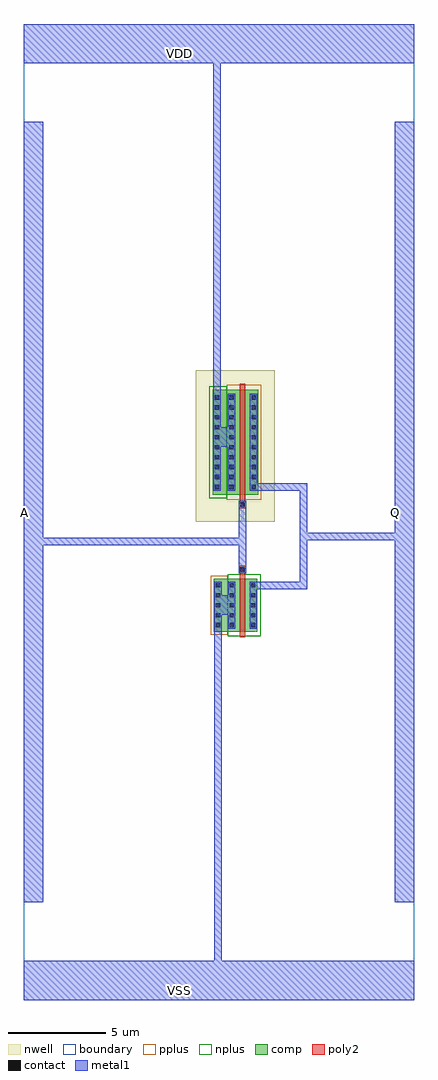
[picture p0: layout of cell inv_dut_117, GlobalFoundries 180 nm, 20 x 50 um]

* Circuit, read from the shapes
.subckt inv_dut_117 A Q VDD VSS
XM1 Q A VSS VSS nfet_03v3 w=2.7u l=0.3u
XM2 Q A VDD VDD pfet_03v3 w=5.4u l=0.3u
.ends

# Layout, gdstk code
from math import pi, radians
import gdstk
lib = gdstk.Library(unit=1e-6, precision=1e-09)
def R(c, l, rs):  # rectangles x0, y0, x1, y1
    for r in rs: c.add(gdstk.rectangle(r[:2], r[2:], *l))
def A(c, l, x, y, w, h, nx, ny, dx, dy):  # array of equal rectangles
    R(c, l, [(x+i*dx, y+j*dy, x+i*dx+w, y+j*dy+h) for i in range(nx) for j in range(ny)])
def P(c, l, *ps):  # polygons
    for p in ps: c.add(gdstk.Polygon(p, *l))
boundary = (0, 0)
nwell = (21, 0)
comp = (22, 0)
poly2 = (30, 0)
pplus = (31, 0)
nplus = (32, 0)
contact = (33, 0)
metal1 = (34, 0)

nfet = lib.new_cell('nfet')
R(nfet, comp, [(-0.42,0,1.81,2.7)])
P(nfet, poly2, [(0.19,-0.3),(0.19,3),(0.16,3),(0.16,3.36),(0.52,3.36),(0.52,3),(0.49,3),(0.49,-0.3)])
R(nfet, pplus, [(1.1,-0.17,1.98,2.87)])
R(nfet, nplus, [(-0.59,-0.24,1.1,2.94)])
A(nfet, contact, -0.32, 0.22, 0.22, 0.22, 1, 5, 0, 0.51)
A(nfet, contact, 0.78, 0.22, 0.22, 0.22, 1, 5, 0, 0.51)
A(nfet, contact, 1.49, 0.22, 0.22, 0.22, 1, 5, 0, 0.51)
R(nfet, contact, [(0.23,3.07,0.45,3.29)])
R(nfet, metal1, [(-0.4,0.14,-0.02,2.56), (0.7,0.14,1.08,2.56), (1.41,0.14,1.79,2.56), (0.15,2.99,0.53,3.37)])

pfet = lib.new_cell('pfet')
R(pfet, nwell, [(-1.32,-1.37,2.73,6.39)])
R(pfet, comp, [(-0.46,0,1.87,5.4)])
P(pfet, poly2, [(0.15,-0.68),(0.15,-0.3),(0.19,-0.3),(0.19,5.7),(0.49,5.7),(0.49,-0.3),(0.53,-0.3),(0.53,-0.68)])
R(pfet, pplus, [(-0.63,-0.24,1.14,5.64)])
R(pfet, nplus, [(1.14,-0.17,2.04,5.57)])
A(pfet, contact, -0.34, 0.295, 0.22, 0.22, 1, 10, 0, 0.51)
A(pfet, contact, 0.8, 0.295, 0.22, 0.22, 1, 10, 0, 0.51)
A(pfet, contact, 1.53, 0.295, 0.22, 0.22, 1, 10, 0, 0.51)
R(pfet, contact, [(0.23,-0.6,0.45,-0.38)])
R(pfet, metal1, [(0.15,-0.68,0.53,-0.3), (-0.42,0.215,-0.04,5.185), (0.72,0.215,1.1,5.185), (1.45,0.215,1.83,5.185)])

inv_dut_117 = lib.new_cell('inv_dut_117')
R(inv_dut_117, boundary, [(-10,-25,10,25)])
R(inv_dut_117, metal1, [(-10,-25,10,-23), (-10,-20,-9,20), (9,-20,10,20), (-10,23,10,25)])
inv_dut_117.add(gdstk.FlexPath([(1.205,0.385),(1.205,-2.945)], 0.38, ends="flush", simple_path=True, layer=34, datatype=0))  # metal1
inv_dut_117.add(gdstk.FlexPath([(-0.095,5.87),(-0.095,23)], 0.38, ends="flush", simple_path=True, layer=34, datatype=0))  # metal1
inv_dut_117.add(gdstk.FlexPath([(-0.055,-5.795),(-0.055,-23)], 0.38, ends="flush", simple_path=True, layer=34, datatype=0))  # metal1
inv_dut_117.add(gdstk.FlexPath([(0.655,-4.775),(-0.055,-4.775)], 1, ends="flush", simple_path=True, layer=34, datatype=0))  # metal1
inv_dut_117.add(gdstk.FlexPath([(4.14,-1.265),(9,-1.265)], 0.38, ends="flush", simple_path=True, layer=34, datatype=0))  # metal1
inv_dut_117.add(gdstk.FlexPath([(1.775,1.28),(4.33,1.28),(4.33,-3.755),(1.755,-3.755)], 0.38, ends="flush", simple_path=True, layer=34, datatype=0))  # metal1
inv_dut_117.add(gdstk.FlexPath([(0.635,3.83),(-0.095,3.83)], 1, ends="flush", simple_path=True, layer=34, datatype=0))  # metal1
inv_dut_117.add(gdstk.FlexPath([(1.395,-1.515),(-9,-1.515)], 0.38, ends="flush", simple_path=True, layer=34, datatype=0))  # metal1
inv_dut_117.add(gdstk.Reference(nfet, (1.545,-6.125), rotation=pi, x_reflection=True))
inv_dut_117.add(gdstk.Reference(pfet, (1.545,0.875), rotation=pi, x_reflection=True))
inv_dut_117.add(gdstk.Label('VDD', (-2,23.5), layer=34, texttype=10))
inv_dut_117.add(gdstk.Label('VSS', (-2,-24.5), layer=34, texttype=10))
inv_dut_117.add(gdstk.Label('A', (-9.97,0), layer=34, texttype=10))
inv_dut_117.add(gdstk.Label('Q', (9.03,0), layer=34, texttype=10))

lib.write_gds('inv_dut_117.gds')
